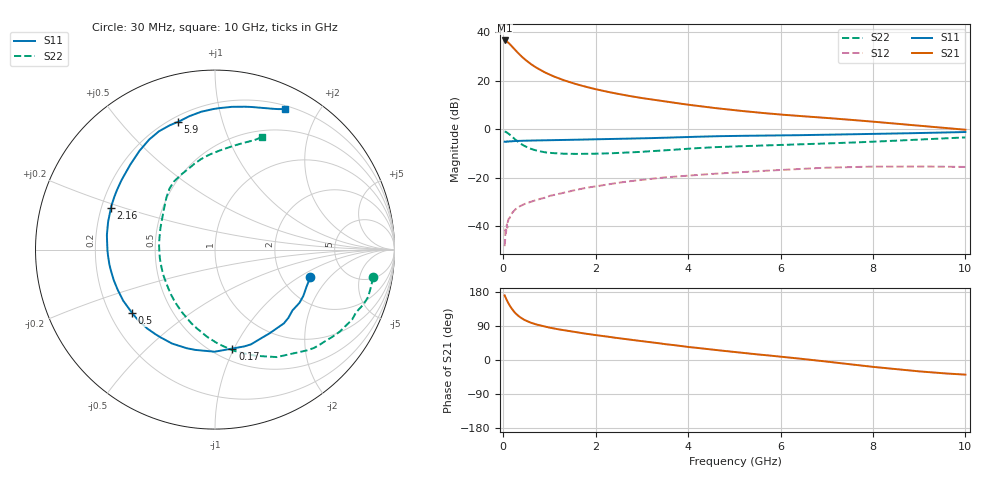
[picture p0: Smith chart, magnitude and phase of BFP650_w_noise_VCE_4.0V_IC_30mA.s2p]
! Infineon Technologies  Discrete & RF Semiconductors
! BFP650
! VCE =  4.0 V,  IC =  30 mA
! Common Emitter S-Parameters:  Jan 2016
# GHz  S  MA  R  50
!  f  S11  S21  S12  S22
! GHz  MAG  ANG  MAG  ANG  MAG  ANG  MAG  ANG
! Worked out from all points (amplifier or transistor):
!   229 points, 30 MHz to 10 GHz, reference 50 ohm
!   highest |S21| = 36.6 dB at 30 MHz (marker M1)
!   |S21| within 3 dB of that: start of sweep to 216.1 MHz
!   unconditionally stable (mu >= 1): 2.172 GHz to end of sweep
!   at 280 MHz: K = 0.36, MSG = 32.5 dB, |S12| = -32.8 dB
!   at 1.78 GHz: K = 0.96, MSG = 20.9 dB, |S12| = -24.2 dB
!   at 10 GHz: K = 1.04, MAG = 6.5 dB, |S12| = -15.5 dB
!   lowest NFmin = 0.77 dB at 450 MHz
!   S11 on the Smith chart (normalised r, x): 30 MHz: 2.85, -1.26; 170 MHz: 0.61, -0.99; 500 MHz: 0.29, -0.31; 2.16 GHz: 0.24, +0.18; 5.9 GHz: 0.23, +0.73; 10 GHz: 0.24, +1.59
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0.03  0.5527 -16.1  67.35 170.6  0.0039 64.8  0.895 -9.9
0.06  0.5562 -32.3  65.89 162.7  0.0072 71.5  0.882 -20.2
0.08  0.5584 -42.9  63.96 157.4  0.011 67.3  0.8578 -27.0
0.1  0.5575 -52.6  61.89 152.6  0.0125 62.9  0.8315 -33.4
0.13  0.5595 -65.4  58.02 145.7  0.0146 60.9  0.7875 -42.4
0.17  0.5596 -80.0  53.02 138.3  0.0174 56.2  0.7284 -52.3
0.2  0.5689 -90.2  49.56 132.5  0.0192 54.1  0.6908 -60.1
0.24  0.5695 -101.1  45.03 126.7  0.0213 51.2  0.6375 -68.3
0.3  0.5756 -114.6  39.06 119.2  0.0236 50.0  0.5712 -79.9
0.4  0.5796 -130.8  31.39 110.0  0.0269 46.0  0.4882 -95.1
0.5  0.5815 -142.4  25.95 103.3  0.0297 46.1  0.4329 -107.4
0.7  0.5866 -157.6  18.95 94.3  0.0344 45.5  0.3682 -127.0
1  0.5942 -171.8  13.37 85.5  0.0422 46.8  0.3264 -147.8
1.3  0.6008 178.3  10.3 78.8  0.049 46.8  0.3132 -163.1
1.7  0.6119 167.8  7.88 71.1  0.0596 45.3  0.3106 -178.4
2.16  0.6248 158.1  6.177 63.3  0.0705 43.1  0.3163 168.3
3.4  0.6637 136.5  3.846 43.7  0.0996 32.7  0.3618 142.0
5.1  0.7304 114.2  2.411 19.9  0.1296 17.4  0.446 119.5
5.9  0.7411 106.2  2.044 10.0  0.1432 10.5  0.4699 109.5
6.8  0.7651 97.8  1.763 -1.4  0.1582 1.4  0.5023 100.6
8.4  0.8135 78.1  1.326 -23.0  0.1703 -15.6  0.5758 82.2
10  0.8749 63.5  0.976 -38.6  0.1672 -28.0  0.6783 67.5
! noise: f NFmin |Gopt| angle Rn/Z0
0.45  0.77  0.08  132  2.09
0.9  0.79  0.3  -172  0.08
1.9  0.94  0.34  -160  0.06
2.4  1.01  0.35  -148  0.07
3.5  1.23  0.38  -125  0.12
